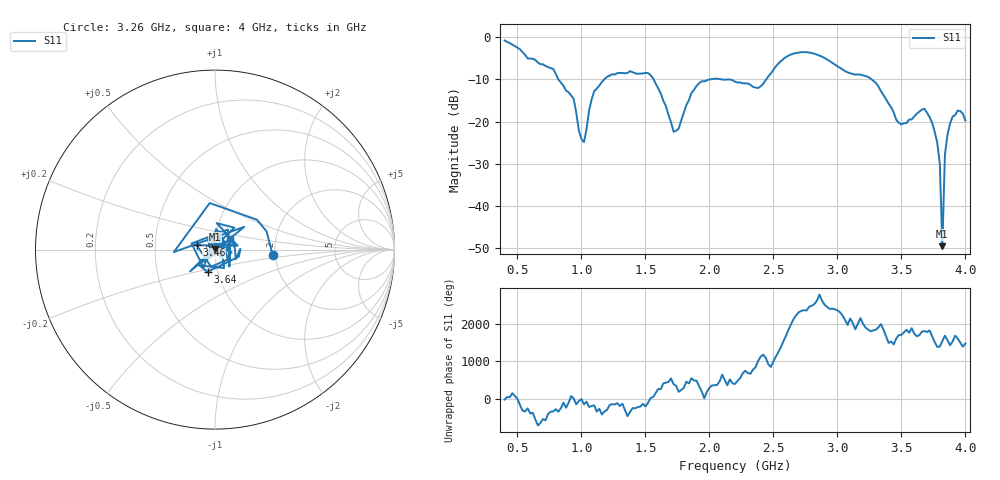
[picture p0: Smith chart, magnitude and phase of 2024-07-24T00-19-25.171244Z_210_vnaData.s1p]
!Created with skrf (http://scikit-rf.org).
# Hz S RI R 50.0
!freq ReS11 ImS11
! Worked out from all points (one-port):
!   181 points, 400 MHz to 4 GHz, reference 50 ohm
!   lowest |S11| = -49.5 dB at 3.82 GHz (marker M1), VSWR 1.01, Z = 49.9 + j0.33 ohm
!   |S11| at or under -10 dB: 819.5 MHz to 1.178 GHz (359 MHz wide, 35.9 % of centre); 1.564 GHz to 2.003 GHz (438.8 MHz wide, 24.6 % of centre); 3.267 GHz to end of sweep (the widest 3 of 4)
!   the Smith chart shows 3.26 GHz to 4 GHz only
!   S11 on the Smith chart (normalised r, x): 3.26 GHz: 1.94, -0.14; 3.46 GHz: 0.81, +0.04; 3.64 GHz: 0.89, -0.23; 4 GHz: 1.17, +0.14
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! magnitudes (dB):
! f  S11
! 400 MHz  -0.8
! 780 MHz  -7.6
! 860 MHz  -11.5
! 940 MHz  -14.7
! 980 MHz  -22.1
! 1.02 GHz  -24.9
! 1.1 GHz  -12.8
! 1.3 GHz  -8.5
! 1.54 GHz  -9.0
! 1.72 GHz  -22.4
! 1.76 GHz  -21.7
! 1.92 GHz  -10.9
! 2.2 GHz  -10.5
! 2.38 GHz  -12.1
! 2.66 GHz  -3.9
! 3.1 GHz  -8.5
! 3.26 GHz  -9.8
! 3.46 GHz  -19.6
! 3.56 GHz  -19.5
! 3.64 GHz  -17.7
! 3.7 GHz  -17.9
! 3.78 GHz  -25.0
! 3.8 GHz  -29.9
! 3.82 GHz  -49.5
! 3.84 GHz  -27.9
! 3.86 GHz  -23.2
! 3.94 GHz  -17.4
! 4 GHz  -19.8
